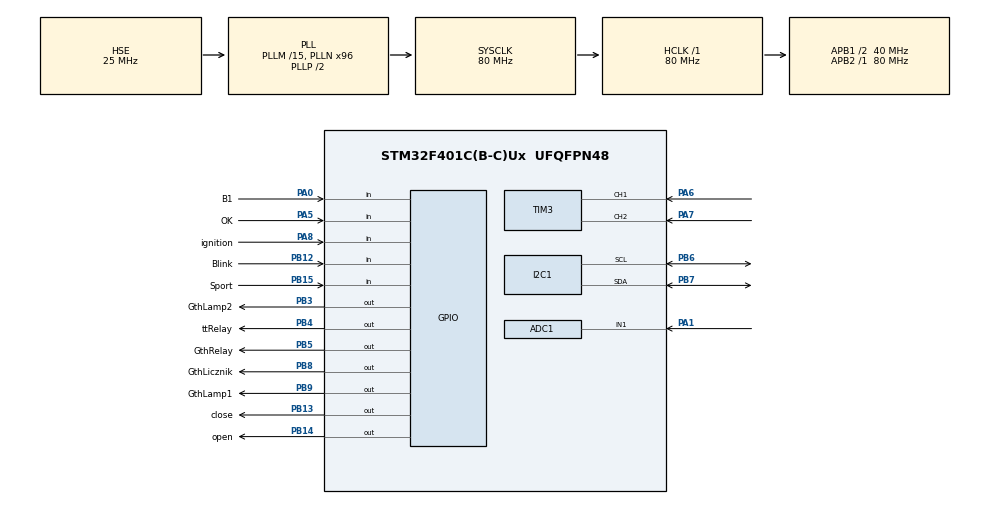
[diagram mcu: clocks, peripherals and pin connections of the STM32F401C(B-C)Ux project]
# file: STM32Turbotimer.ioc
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ADC1.Channel-1\#ChannelRegularConversion=ADC_CHANNEL_1
ADC1.NbrOfConversionFlag=1
ADC1.Rank-1\#ChannelRegularConversion=1
ADC1.SamplingTime-1\#ChannelRegularConversion=ADC_SAMPLETIME_3CYCLES
ADC1.master=1
IWDG.Prescaler=IWDG_PRESCALER_8
Mcu.Family=STM32F4
Mcu.Name=STM32F401C(B-C)Ux
Mcu.Package=UFQFPN48
NVIC.PriorityGroup=NVIC_PRIORITYGROUP_4
NVIC.RCC_IRQn=true\:0\:0\:false\:false\:true\:true\:false\:true
NVIC.TIM2_IRQn=true\:0\:0\:false\:false\:true\:true\:true\:true
NVIC.TIM3_IRQn=true\:0\:0\:false\:false\:true\:true\:true\:true
PA0-WKUP.GPIO_Label=B1
PA0-WKUP.GPIO_PuPd=GPIO_PULLUP
PA0-WKUP.Signal=GPIO_Input
PA1.Signal=ADCx_IN1
PA13.Mode=Serial_Wire
PA13.Signal=SYS_JTMS-SWDIO
PA14.Mode=Serial_Wire
PA14.Signal=SYS_JTCK-SWCLK
PA5.GPIO_Label=OK
PA5.GPIO_PuPd=GPIO_PULLUP
PA5.Signal=GPIO_Input
PA6.Signal=S_TIM3_CH1
PA7.Signal=S_TIM3_CH2
PA8.GPIO_Label=ignition
PA8.GPIO_PuPd=GPIO_PULLUP
PA8.Signal=GPIO_Input
PB12.GPIO_Label=Blink
PB12.GPIO_PuPd=GPIO_PULLUP
PB12.Signal=GPIO_Input
PB13.GPIO_Label=close
PB13.GPIO_PuPd=GPIO_PULLDOWN
PB13.Signal=GPIO_Output
PB14.GPIO_Label=open
PB14.GPIO_PuPd=GPIO_PULLDOWN
PB14.Signal=GPIO_Output
PB15.GPIO_Label=Sport
PB15.GPIO_PuPd=GPIO_PULLUP
PB15.Signal=GPIO_Input
PB3.GPIO_Label=GthLamp2
PB3.GPIO_PuPd=GPIO_PULLUP
PB3.PinState=GPIO_PIN_SET
PB3.Signal=GPIO_Output
PB4.GPIO_Label=ttRelay
PB4.GPIO_PuPd=GPIO_PULLUP
PB4.PinState=GPIO_PIN_SET
PB4.Signal=GPIO_Output
PB5.GPIO_Label=GthRelay
PB5.GPIO_PuPd=GPIO_PULLUP
PB5.PinState=GPIO_PIN_SET
PB5.Signal=GPIO_Output
PB6.Mode=I2C
PB6.Signal=I2C1_SCL
PB7.Mode=I2C
PB7.Signal=I2C1_SDA
PB8.GPIO_Label=GthLicznik
PB8.GPIO_PuPd=GPIO_PULLUP
PB8.PinState=GPIO_PIN_SET
PB8.Signal=GPIO_Output
PB9.GPIO_Label=GthLamp1
PB9.GPIO_PuPd=GPIO_PULLUP
PB9.PinState=GPIO_PIN_SET
PB9.Signal=GPIO_Output
PC14-OSC32_IN.Mode=LSE-External-Oscillator
PC14-OSC32_IN.Signal=RCC_OSC32_IN
PC15-OSC32_OUT.Mode=LSE-External-Oscillator
PC15-OSC32_OUT.Signal=RCC_OSC32_OUT
PH0\ -\ OSC_IN.Mode=HSE-External-Oscillator
PH0\ -\ OSC_IN.Signal=RCC_OSC_IN
PH1\ -\ OSC_OUT.Mode=HSE-External-Oscillator
PH1\ -\ OSC_OUT.Signal=RCC_OSC_OUT
ProjectManager.HeapSize=0x200
ProjectManager.StackSize=0x400
ProjectManager.TargetToolchain=STM32CubeIDE
RCC.48MHZClocksFreq_Value=40000000
RCC.AHBFreq_Value=80000000
RCC.APB1CLKDivider=RCC_HCLK_DIV2
RCC.APB1Freq_Value=40000000
RCC.APB1TimFreq_Value=80000000
RCC.APB2Freq_Value=80000000
RCC.APB2TimFreq_Value=80000000
RCC.CortexFreq_Value=80000000
RCC.HCLKFreq_Value=80000000
RCC.HSE_VALUE=25000000
RCC.HSI_VALUE=16000000
RCC.PLLM=15
RCC.PLLN=96
RCC.PLLSourceVirtual=RCC_PLLSOURCE_HSE
RCC.SYSCLKFreq_VALUE=80000000
RCC.SYSCLKSource=RCC_SYSCLKSOURCE_PLLCLK
RCC.VCOOutputFreq_Value=160000000
SH.ADCx_IN1.0=ADC1_IN1,IN1
SH.S_TIM3_CH1.0=TIM3_CH1,Encoder_Interface
SH.S_TIM3_CH2.0=TIM3_CH2,Encoder_Interface
TIM2.AutoReloadPreload=TIM_AUTORELOAD_PRELOAD_ENABLE
TIM2.Period=999
TIM2.Prescaler=7999
TIM2.TIM_MasterOutputTrigger=TIM_TRGO_UPDATE
TIM3.AutoReloadPreload=TIM_AUTORELOAD_PRELOAD_ENABLE
TIM3.ClockDivision=TIM_CLOCKDIVISION_DIV2
TIM3.EncoderMode=TIM_ENCODERMODE_TI12
TIM3.IC1Filter=15
TIM3.IC2Filter=15
TIM3.TIM_MasterOutputTrigger=TIM_TRGO_UPDATE
VP_IWDG_VS_IWDG.Mode=IWDG_Activate
VP_TIM2_VS_ClockSourceINT.Mode=Internal
board=custom

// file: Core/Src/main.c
/* USER CODE BEGIN Header */
/**
 ******************************************************************************
 * @file           : main.c
 * @brief          : Main program body
 ******************************************************************************
 * @attention
 *
 * Copyright (c) 2023 STMicroelectronics.
 * All rights reserved.
 *
 * This software is licensed under terms that can be found in the LICENSE file
 * in the root directory of this software component.
 * If no LICENSE file comes with this software, it is provided AS-IS.
 *
 ******************************************************************************
 */
/* USER CODE END Header */
#include "main.h"

/* USER CODE BEGIN Includes */
#include "ssd1306.h"
#include "ssd1306_tests.h"
#include <stdbool.h>
#include <stdio.h>
#include <string.h>
/* USER CODE END Includes */

ADC_HandleTypeDef hadc1;

I2C_HandleTypeDef hi2c1;

IWDG_HandleTypeDef hiwdg;

TIM_HandleTypeDef htim2;
TIM_HandleTypeDef htim3;

/* USER CODE BEGIN PV */
//const char *screen = "LOGO";
int display = 0;
int i = 0, pastI = 0;
//int screen = LOGO;
float volt = 0;
float voltSet = 13.4;
float pomiar1 = 0;
int ok = 0;
int sportState = 0;
int sportSet = 0;
int32_t counter = 0;
int32_t prevCounter = 0;
int pressed = 0;
int lock = 0;
int step = 0;
int temp;
int sekAdj = 0;
int minAdj = 0;
char voltage[6];
char voltageSet[6];
char contrastLcd[4];
char sleepLcd[4];
char timeSek[2];
char timeMin[2];
char timeSekGth[2];
char timeMinGth[2];
char timeSetSek[2];
char timeSetMin[2];
char timeSetSekGth[2];
char timeSetMinGth[2];
uint32_t value[3];
uint32_t milis = 0;
uint32_t prevmilis = 0;
uint32_t prevmilis2 = 0;
uint32_t prevmilis3 = 0;
uint32_t prevmilisBckl = 0;
uint32_t sekmilis = 0;
uint32_t prevmilisGth = 0;
uint32_t sekmilisGth = 0;
uint32_t blinkMilis1 = 0;
uint32_t blinkMilis2 = 0;
uint32_t voltmilis = 0;
uint16_t sek = 10;
uint16_t min = 1;
uint16_t sekGth = 40;
uint16_t minGth = 0;
uint8_t turbotimerOn = 0;
uint8_t turbotimerLock = 0;
int16_t count = 0;
int16_t prevCount = 0;
int8_t sekSet = 40;
int8_t minSet = 1;
int8_t sekSetGth = 40;
int8_t minSetGth = 0;
int charge = 0;
int chargeSet = 0;
int chargeSetLock = 0;
int voltageSetLock = 0;
int setLock = 0;
int reczny = 1;
int ignitionState = 1;
int trigger = 0;
int enter = 0;
int gthLock = 0;
int contrast = 80;
int contrastSet = 0;
int sleep = 10;
int sleepSet = 0;
int kierunkowskaz = 0;
int blinkCount = 0;
int blinkLock = 0;
int carLocked = 0;
int carUnLocked = 0;
int ignitionOn = 0;

// Definicja typów enum dla nazw dysków
typedef enum {
	LOGO = 0,
	GLOWNY,
	MENU_1,
	MENU_2,
	TURBOTIMER_SET,
	GTH_SET,
	CHARGE_ON,
	TURBOTIMER_START,
	GTH_START
} SelectScreen;
// Mapowanie tekstu na typ enum
SelectScreen screen = LOGO;

/* USER CODE END PV */

void SystemClock_Config(void);
static void MX_GPIO_Init(void);
static void MX_ADC1_Init(void);
static void MX_I2C1_Init(void);
static void MX_TIM2_Init(void);
static void MX_TIM3_Init(void);
static void MX_IWDG_Init(void);
/* USER CODE BEGIN PFP */
void HAL_TIM_PeriodElapsedCallback(TIM_HandleTypeDef *htim) {
	if (htim->Instance == TIM2) { // Jeżeli przerwanie pochodzi od timera 2
//	  		HAL_GPIO_TogglePin(GPIOA, LD4_Pin );
//	  	HAL_ADC_Start_DMA(&hadc1, dmaBuffer, 8); // Start ADC in DMA mode and declare the buffer where store the results
		milis++;
//		timeOff = timeTrigger2 - timeTrigger1 ;
		if (turbotimerOn == 1 && turbotimerLock == 0) {
			HAL_GPIO_WritePin(GPIOB, ttRelay_Pin, GPIO_PIN_RESET);
			if (milis - sekmilis >= 10) {
//				if (min == 0 && sek == 0) {
//					turbotimerOn = 0;
//				}
				sek--;
				sekmilis = milis;
			}

			if (milis - prevmilis >= 1) {
				if (sek == 65535) {
					sek = 59;
					min--;
				}
				if (min == 65535) {
					min = 0;
				}

				prevmilis = milis;
			}
		}
		if (volt < voltSet && gthLock == 0) {
			HAL_GPIO_WritePin(GPIOB, GthRelay_Pin, GPIO_PIN_RESET);
			HAL_GPIO_WritePin(GPIOB, GthLamp1_Pin, GPIO_PIN_SET);
			HAL_GPIO_WritePin(GPIOB, GthLamp2_Pin, GPIO_PIN_SET);
			HAL_GPIO_WritePin(GPIOB, GthLicznik_Pin, GPIO_PIN_SET);
			if (milis - sekmilisGth >= 10) {
				sekGth--;
				sekmilisGth = milis;
			}
			if (milis - prevmilisGth >= 1) {
				if (sekGth == 65535) {
					sekGth = 59;
					minGth--;
				}
				if (minGth == 65535) {
					minGth = 0;
				}

				prevmilisGth = milis;
			}
		}
		if (min == 0 && sek == 0) {
			turbotimerOn = 0;
			turbotimerLock = 1;
		} else {
			if (milis - sekmilis == 10) {
				prevmilis = milis;
				sekmilis = milis;
			}
		}
		if (minGth == 0 && sekGth == 0) {
			gthLock = 1;
			HAL_GPIO_WritePin(GPIOB, GthRelay_Pin, GPIO_PIN_SET);
			HAL_GPIO_WritePin(GPIOB, GthLamp1_Pin, GPIO_PIN_SET);
			HAL_GPIO_WritePin(GPIOB, GthLamp2_Pin, GPIO_PIN_SET);
			HAL_GPIO_WritePin(GPIOB, GthLicznik_Pin, GPIO_PIN_SET);
		} else {
			if (milis - sekmilis == 10) {
				prevmilisGth = milis;
				sekmilisGth = milis;
			}
		}
		if (milis - blinkMilis1 >= 1) {
			if (kierunkowskaz == 0 && blinkLock == 0) {
				blinkCount++;
				blinkLock = 1;
				blinkMilis2 = milis;
			}
			if (kierunkowskaz == 1) {
				blinkLock = 0;
			}
			blinkMilis1 = milis;
//			blinkMilis2 = milis;
		}
		if (milis - blinkMilis2 >= 10) {
			if (kierunkowskaz == 1) {
				blinkCount = 0;
			}
			blinkMilis2 = milis;
		}
	}
}
/* USER CODE END PFP */

/* USER CODE BEGIN 0 */
//uint32_t counter = 0;
int speed = 0;

void HAL_TIM_IC_CaptureCallback(TIM_HandleTypeDef *htim) {

	counter = __HAL_TIM_GET_COUNTER(&htim3);
	if (screen == MENU_1 || screen == MENU_2) {
		if (chargeSet == 0 && contrastSet == 0 && voltageSetLock == 0
				&& sleepSet == 0) {
			if (screen == MENU_1) {
				if (counter - prevCounter == -4) {
					count--;
					prevCounter = counter;
					if (count < 0) {
						count = 0;
					}
				}
				if (counter - prevCounter == 4) {
					count++;
					prevCounter = counter;
					if (count > 5) {
						count = 5;
					}
				}
			}
			if (screen == MENU_2) {
				if (counter - prevCounter == -4) {
					count--;
					prevCounter = counter;
					if (count < 0) {
						count = 0;
					}
				}
				if (counter - prevCounter == 4) {
					count++;
					prevCounter = counter;
					if (count > 4) {
						count = 4;
					}
				}
			}
		}
		if (chargeSet == 1) {
			if (counter - prevCounter == -4) {
				count--;
				prevCounter = counter;
				if (count <= 0) {
					charge = 0;
					count = 0;
				}
			}
			if (counter - prevCounter == 4) {
				count++;
				prevCounter = counter;
				if (count >= 1) {
					charge = 1;
					count = 1;
				}
			}
		}
		if (contrastSet == 1) {
			if (counter - prevCounter == -4) {
				count--;
				contrast = count;
				prevCounter = counter;
				if (count <= 10) {
					contrast = 10;
					count = 10;
				}
			}
			if (counter - prevCounter == 4) {
				count++;
				contrast = count;
				prevCounter = counter;
				if (count >= 99) {
					contrast = 99;
					count = 99;
				}
			}
		}
		if (voltageSetLock == 1) {
			if (counter - prevCounter == -4) {
				count--;
				voltSet = (count / 10.0);
				prevCounter = counter;
				if (count <= 100) {
					voltSet = 10.0;
					count = 100;
				}
			}
			if (counter - prevCounter == 4) {
				count++;
				voltSet = (count / 10.0);
				prevCounter = counter;
				if (count >= 140) {
					voltSet = 14.0;
					count = 140;
				}
			}
		}
		if (sleepSet == 1) {
			if (counter - prevCounter == -4) {
				count--;
				sleep = count;
				prevCounter = counter;
				if (count <= 10) {
					sleep = 10;
					count = 10;
				}
			}
			if (counter - prevCounter == 4) {
				count++;
				sleep = count;
				prevCounter = counter;
				if (count >= 90) {
					sleep = 90;
					count = 90;
				}
			}
		}
		if (counter >= 65530) {
			TIM3->CNT = 0;
			counter = 0;
		}
	}
	if (screen == TURBOTIMER_SET || screen == GTH_SET) {
		if (counter - prevCounter == -4) {
			count--;
			prevCounter = counter;
		}
		if (counter - prevCounter == 4) {
			count++;
			prevCounter = counter;
		}
	}

}
/* USER CODE END 0 */

int main(void) {

	/* USER CODE BEGIN 1 */
	// Funkcja do mapowania tekstu na typ enum
	/* USER CODE END 1 */

	/* MCU Configuration--------------------------------------------------------*/

	/* Reset of all peripherals, Initializes the Flash interface and the Systick. */
	HAL_Init();

	/* Configure the system clock */
	SystemClock_Config();

	/* Initialize all configured peripherals */
	MX_GPIO_Init();
	MX_ADC1_Init();
	MX_I2C1_Init();
	MX_TIM2_Init();
	MX_TIM3_Init();
	MX_IWDG_Init();
	/* USER CODE BEGIN 2 */
	HAL_TIM_Base_Start_IT(&htim2);
	HAL_TIM_Encoder_Start_IT(&htim3, TIM_CHANNEL_ALL);
	ssd1306_Init();

//	SelectScreen getScreen(const char *wybrany_ekran) {
//		if (strcmp(wybrany_ekran, "LOGO") == 0) {
//			return LOGO;
//		} else if (strcmp(wybrany_ekran, "GLOWNY") == 0) {
//			return GLOWNY;
//		} else if (strcmp(wybrany_ekran, "MENU_1") == 0) {
//			return MENU_1;
//		} else if (strcmp(wybrany_ekran, "MENU_1") == 0) {
//			return MENU_2;
//		} else if (strcmp(wybrany_ekran, "TURBOTIMER_SET") == 0) {
//			return TURBOTIMER_SET;
//		} else if (strcmp(wybrany_ekran, "GTH_SET") == 0) {
//			return GTH_SET;
//		} else if (strcmp(wybrany_ekran, "CHARGE_ON") == 0) {
//			return CHARGE_ON;
//		} else if (strcmp(wybrany_ekran, "TURBOTIMER_START") == 0) {
//			return TURBOTIMER_START;
//		} else if (strcmp(wybrany_ekran, "GTH_START") == 0) {
//			return GTH_START;
//		} else {
//			return LOGO;
//		}
//	}
	// Symulacja wyboru dysku
//	const char *wybrany_ekran;

	/* USER CODE END 2 */

	/* Infinite loop */
	/* USER CODE BEGIN WHILE */
	while (1) {
		HAL_IWDG_Refresh(&hiwdg);
		ssd1306_SetContrast(contrast);
		void dots() {  //// +13
			if (screen == GLOWNY || screen == TURBOTIMER_SET
					|| screen == GTH_SET || screen == CHARGE_ON
					|| screen == GTH_START) {
				ssd1306_DrawRectangle(0, 12, 120, 44, White);
				if (screen == TURBOTIMER_SET || screen == GTH_SET) {
					if (minAdj == 2) {
						ssd1306_DrawRectangle(32, 15, 57, 33, Black);
						ssd1306_DrawRectangle(69, 15, 92, 32, Black);
						ssd1306_DrawRectangle(45, 52, 80, 62, White);
					}
					if (minAdj == 1) {
						ssd1306_DrawRectangle(45, 52, 80, 62, Black);
						ssd1306_DrawRectangle(69, 15, 92, 32, Black);
						ssd1306_DrawRectangle(32, 15, 57, 31, White); //25x 18y
					}
					if (minAdj == 0) {
						ssd1306_DrawRectangle(45, 52, 80, 62, Black);
						ssd1306_DrawRectangle(32, 15, 57, 32, Black);
						ssd1306_DrawRectangle(69, 15, 92, 31, White);
					}
				}
			}
			if (screen == MENU_1 && chargeSet == 0) {
				if (count == 0) {
					ssd1306_DrawRectangle(0, 10, 120, 22, Black);
					ssd1306_DrawRectangle(0, 23, 120, 35, Black);
					ssd1306_DrawRectangle(0, 52, 50, 62, Black);
					ssd1306_DrawRectangle(0, 36, 120, 48, Black);
					ssd1306_DrawRectangle(65, 52, 120, 62, Black);
				}
				if (count == 1) {
					ssd1306_DrawRectangle(0, 23, 120, 35, Black);
					ssd1306_DrawRectangle(0, 36, 120, 48, Black);
					ssd1306_DrawRectangle(0, 52, 60, 62, Black);
					ssd1306_DrawRectangle(65, 52, 120, 62, Black);
					ssd1306_DrawRectangle(0, 10, 120, 22, White);
				}
				if (count == 2) {
					ssd1306_DrawRectangle(0, 10, 120, 22, Black);
					ssd1306_DrawRectangle(0, 52, 60, 62, Black);
					ssd1306_DrawRectangle(0, 36, 120, 48, Black);
					ssd1306_DrawRectangle(65, 52, 120, 62, Black);
					ssd1306_DrawRectangle(0, 23, 120, 35, White);

				}
				if (count == 3) {
					ssd1306_DrawRectangle(0, 10, 120, 22, Black);
					ssd1306_DrawRectangle(0, 23, 120, 35, Black);
					ssd1306_DrawRectangle(0, 52, 60, 62, Black);
					ssd1306_DrawRectangle(65, 52, 120, 62, Black);
					ssd1306_DrawRectangle(0, 36, 120, 48, White);
				}
				if (count == 4) {
					ssd1306_DrawRectangle(0, 10, 120, 22, Black);
					ssd1306_DrawRectangle(0, 23, 120, 35, Black);
					ssd1306_DrawRectangle(0, 36, 120, 48, Black);
					ssd1306_DrawRectangle(65, 52, 120, 62, Black);
					ssd1306_DrawRectangle(0, 52, 60, 62, White);
				}
				if (count == 5) {
					ssd1306_DrawRectangle(0, 10, 120, 22, Black);
					ssd1306_DrawRectangle(0, 23, 120, 35, Black);
					ssd1306_DrawRectangle(0, 52, 60, 62, Black);
					ssd1306_DrawRectangle(0, 36, 120, 48, Black);
					ssd1306_DrawRectangle(65, 52, 120, 62, White);
				}
			}
			if (screen == MENU_1 && chargeSet == 1) {
				ssd1306_DrawRectangle(55, 36, 90, 48, White);
			}
			if (screen == MENU_2) {
				if (contrastSet == 0 && voltageSetLock == 0 && sleepSet == 0) {
					if (count == 0) {
						ssd1306_DrawRectangle(0, 10, 120, 22, Black);
						ssd1306_DrawRectangle(0, 23, 120, 35, Black);
						ssd1306_DrawRectangle(0, 52, 50, 62, Black);
						ssd1306_DrawRectangle(0, 36, 120, 48, Black);
						ssd1306_DrawRectangle(65, 52, 120, 62, Black);
					}
					if (count == 1) {
						ssd1306_DrawRectangle(0, 23, 120, 35, Black);
						ssd1306_DrawRectangle(0, 36, 120, 48, Black);
						ssd1306_DrawRectangle(0, 52, 60, 62, Black);
						ssd1306_DrawRectangle(65, 52, 120, 62, Black);
						ssd1306_DrawRectangle(0, 10, 120, 22, White);
					}
					if (count == 2) {
						ssd1306_DrawRectangle(0, 10, 120, 22, Black);
						ssd1306_DrawRectangle(0, 52, 60, 62, Black);
						ssd1306_DrawRectangle(0, 36, 120, 48, Black);
						ssd1306_DrawRectangle(65, 52, 120, 62, Black);
						ssd1306_DrawRectangle(0, 23, 120, 35, White);

					}
					if (count == 3) {
						ssd1306_DrawRectangle(0, 10, 120, 22, Black);
						ssd1306_DrawRectangle(0, 23, 120, 35, Black);
						ssd1306_DrawRectangle(0, 52, 60, 62, Black);
						ssd1306_DrawRectangle(65, 52, 120, 62, Black);
						ssd1306_DrawRectangle(0, 36, 120, 48, White);
					}
					if (count == 4) {
						ssd1306_DrawRectangle(0, 10, 120, 22, Black);
						ssd1306_DrawRectangle(0, 23, 120, 35, Black);
						ssd1306_DrawRectangle(0, 52, 60, 62, Black);
						ssd1306_DrawRectangle(0, 36, 120, 48, Black);
						ssd1306_DrawRectangle(65, 52, 120, 62, White);
					}
				}
			}
			if (contrastSet == 1) {
				ssd1306_DrawRectangle(83, 10, 114, 22, White);
			}
			if (voltageSetLock == 1) {
				ssd1306_DrawRectangle(83, 23, 114, 35, White);
			}
			if (sleepSet == 1) {
				ssd1306_DrawRectangle(83, 36, 114, 48, White);
			}
		}

		//////////////////////////// POMIAR NAPIECIA//////////////////////////////////////

		for (int i = 0; i < 2; i++) {
			HAL_ADC_Start(&hadc1);
			HAL_ADC_PollForConversion(&hadc1, 1000);
			value[i] = HAL_ADC_GetValue(&hadc1);
			HAL_ADC_Stop(&hadc1);
		}
		if (milis - voltmilis >= 8) {
			pomiar1 = value[0];
			volt = ((pomiar1 / 4096) * 15.12); //formulae to convert the ADC value to voltage
			voltmilis = milis;
		}
		/////////////konwersja liczby na char //////////////////////////////
		snprintf(voltage, 5, "%.2f", volt);
		printf("%s", voltage);

		snprintf(voltageSet, 5, "%.2f", voltSet);
		printf("%s", voltageSet);

		snprintf(contrastLcd, 4, "%d", contrast);
		printf("%s", contrastLcd);

		snprintf(sleepLcd, 4, "%d", sleep);
		printf("%s", sleepLcd);

		snprintf(timeSek, 7, "%d", sek);
		printf("%s", timeSek);
		snprintf(timeMin, 7, "%d", min);
		printf("%s", timeMin);

		snprintf(timeSekGth, 7, "%d", sekGth);
		printf("%s", timeSekGth);
		snprintf(timeMinGth, 7, "%d", minGth);
		printf("%s", timeMinGth);

		snprintf(timeSetSek, 7, "%d", sekSet);
		printf("%s", timeSetSek);
		snprintf(timeSetMin, 7, "%d", minSet);
		printf("%s", timeSetMin);

		snprintf(timeSetSekGth, 7, "%d", sekSetGth);
		printf("%s", timeSetSekGth);
		snprintf(timeSetMinGth, 7, "%d", minSetGth);
		printf("%s", timeSetMinGth);
		/////////////////////////////////screen//////////////////////////////
		dots();
		switch (screen) {
		case GLOWNY:   //////////////// screen główny
			//			ssd1306_DrawRectangle(0, 12, 120, 35, White);
			ssd1306_SetCursor(30, 0);
			ssd1306_WriteString("TURBOTIMER", Font_7x10, White);
			ssd1306_SetCursor(35, 33);
			ssd1306_WriteString("min", Font_7x10, White);
			ssd1306_SetCursor(70, 33);
			ssd1306_WriteString("sek", Font_7x10, White);
			ssd1306_SetCursor(58, 16);
			ssd1306_WriteString(":", Font_11x18, White);
			if (sek >= 10) {
				ssd1306_SetCursor(70, 16);
				ssd1306_WriteString(timeSek, Font_11x18, White);
			}
			if (sek < 10) {
				ssd1306_SetCursor(70, 16);
				ssd1306_WriteString("0", Font_11x18, White);
				ssd1306_SetCursor(80, 16);
				ssd1306_WriteString(timeSek, Font_11x18, White);
			}
			if (min >= 10) {
				ssd1306_SetCursor(35, 16);
				ssd1306_WriteString(timeMin, Font_11x18, White);
			}
			if (min < 10) {
				ssd1306_SetCursor(35, 16);
				ssd1306_WriteString("0", Font_11x18, White);
				ssd1306_SetCursor(45, 16);
				ssd1306_WriteString(timeMin, Font_11x18, White);
			}
			ssd1306_SetCursor(10, 50);
			ssd1306_WriteString("Voltage :", Font_7x10, White);
			ssd1306_SetCursor(74, 50);
			ssd1306_WriteString(voltage, Font_7x10, White);
			ssd1306_SetCursor(105, 50);
			ssd1306_WriteString("V", Font_7x10, White);
			break;
		case MENU_1:
			ssd1306_SetCursor(50, 0);
			ssd1306_WriteString("MENU", Font_6x8, White);
			ssd1306_SetCursor(3, 13);
			ssd1306_WriteString("TURBOTIMER", Font_6x8, White);
			ssd1306_SetCursor(3, 26);
			ssd1306_WriteString("GO TO HOME", Font_6x8, White);
			ssd1306_SetCursor(3, 39);
			ssd1306_WriteString("CHARGE :", Font_6x8, White);
			ssd1306_SetCursor(13, 54);
			ssd1306_WriteString("CONFIG", Font_6x8, White);
			ssd1306_SetCursor(87, 54);
			ssd1306_WriteString("EXIT", Font_6x8, White);
			if (charge == 0) {
				ssd1306_SetCursor(60, 39);
				ssd1306_WriteString("Off ", Font_6x8, White);
			}
			if (charge == 1) {
				ssd1306_SetCursor(60, 39);
				ssd1306_WriteString(" On", Font_6x8, White);
			}

			break;
		case TURBOTIMER_SET:
			ssd1306_SetCursor(55, 54);
			ssd1306_WriteString("OK", Font_6x8, White);
			ssd1306_SetCursor(15, 0);
			ssd1306_WriteString("TURBOTIMER SET", Font_7x10, White);
			ssd1306_SetCursor(35, 33);
			ssd1306_WriteString("min", Font_7x10, White);
			ssd1306_SetCursor(70, 33);
			ssd1306_WriteString("sek", Font_7x10, White);
			ssd1306_SetCursor(58, 16);
			ssd1306_WriteString(":", Font_11x18, White);
			if (sekSet >= 10) {
				ssd1306_SetCursor(70, 16);
				ssd1306_WriteString(timeSetSek, Font_11x18, White);
			}
			if (sekSet < 10) {
				ssd1306_SetCursor(70, 16);
				ssd1306_WriteString("0", Font_11x18, White);
				ssd1306_SetCursor(80, 16);
				ssd1306_WriteString(timeSetSek, Font_11x18, White);
			}
			if (minSet >= 10) {
				ssd1306_SetCursor(35, 16);
				ssd1306_WriteString(timeSetMin, Font_11x18, White);
			}
			if (minSet < 10) {
				ssd1306_SetCursor(35, 16);
				ssd1306_WriteString("0", Font_11x18, White);
				ssd1306_SetCursor(45, 16);
				ssd1306_WriteString(timeSetMin, Font_11x18, White);
			}
			if (minAdj == 0) {
				if (count - prevCount <= -1) {
					sekSet--;
					prevCount = count;
				}
				if (sekSet < 0) {
					sekSet = 59;
				}
				if (count - prevCount >= 1) {
					sekSet++;
					prevCount = count;
				}
				if (sekSet > 59) {
					sekSet = 0;
				}
			}
			if (minAdj == 1) {
				if (count - prevCount <= -1) {
					minSet--;
					prevCount = count;
				}
				if (minSet < 0) {
					minSet = 20;
				}
				if (count - prevCount >= 1) {
					minSet++;
					prevCount = count;
				}
				if (minSet > 20) {
					minSet = 0;
				}
			}
			break;
		case GTH_SET:
			ssd1306_SetCursor(55, 54);
			ssd1306_WriteString("OK", Font_6x8, White);
			ssd1306_SetCursor(15, 0);
			ssd1306_WriteString("GO TO HOME SET", Font_7x10, White);
			ssd1306_SetCursor(35, 33);
			ssd1306_WriteString("min", Font_7x10, White);
			ssd1306_SetCursor(70, 33);
			ssd1306_WriteString("sek", Font_7x10, White);
			ssd1306_SetCursor(58, 16);
			ssd1306_WriteString(":", Font_11x18, White);
			if (sekSetGth >= 10) {
				ssd1306_SetCursor(70, 16);
				ssd1306_WriteString(timeSetSekGth, Font_11x18, White);
			}
			if (sekSetGth < 10) {
				ssd1306_SetCursor(70, 16);
				ssd1306_WriteString("0", Font_11x18, White);
				ssd1306_SetCursor(80, 16);
				ssd1306_WriteString(timeSetSekGth, Font_11x18, White);
			}
			if (minSetGth >= 10) {
				ssd1306_SetCursor(35, 16);
				ssd1306_WriteString(timeSetMinGth, Font_11x18, White);
			}
			if (minSetGth < 10) {
				ssd1306_SetCursor(35, 16);
				ssd1306_WriteString("0", Font_11x18, White);
				ssd1306_SetCursor(45, 16);
				ssd1306_WriteString(timeSetMinGth, Font_11x18, White);
			}
			if (minAdj == 0) {
				if (count - prevCount <= -1) {
					sekSetGth--;
					prevCount = count;
				}
				if (sekSetGth < 0) {
					sekSetGth = 59;
				}
				if (count - prevCount >= 1) {
					sekSetGth++;
					prevCount = count;
				}
				if (sekSetGth > 59) {
					sekSetGth = 0;
				}
			}
			if (minAdj == 1) {
				if (count - prevCount <= -1) {
					minSetGth--;
					prevCount = count;
				}
				if (minSetGth < 0) {
					minSetGth = 5;
				}
				if (count - prevCount >= 1) {
					minSetGth++;
					prevCount = count;
				}
				if (minSetGth > 5) {
					minSetGth = 0;
				}
			}
			break;
		case CHARGE_ON:
			ssd1306_SetCursor(13, 19);
			ssd1306_WriteString("CHARGE ON", Font_11x18, White);
			ssd1306_SetCursor(10, 50);
			ssd1306_WriteString("Voltage :", Font_7x10, White);
			ssd1306_SetCursor(74, 50);
			ssd1306_WriteString(voltage, Font_7x10, White);
			ssd1306_SetCursor(105, 50);
			ssd1306_WriteString("V", Font_7x10, White);
			break;
		case TURBOTIMER_START:
			ssd1306_SetCursor(18, 19);
			ssd1306_WriteString("STARTING", Font_11x18, White);
			break;
		case MENU_2:
			ssd1306_SetCursor(15, 0);
			ssd1306_WriteString("CONFIGURATION", Font_6x8, White);
			ssd1306_SetCursor(3, 13);
			ssd1306_WriteString("CONTRAST :", Font_6x8, White);
			ssd1306_SetCursor(94, 13);
			ssd1306_WriteString(contrastLcd, Font_6x8, White);
			ssd1306_SetCursor(3, 26);
			ssd1306_WriteString("VOLTAGE SET :", Font_6x8, White);
			ssd1306_SetCursor(87, 26);
			ssd1306_WriteString(voltageSet, Font_6x8, White);
			ssd1306_SetCursor(3, 39);
			ssd1306_WriteString("SLEEP TIME :", Font_6x8, White);
			ssd1306_SetCursor(94, 39);
			ssd1306_WriteString(sleepLcd, Font_6x8, White);
			//			ssd1306_SetCursor(13, 54);
			//			ssd1306_WriteString("CONFIG", Font_6x8, White);
			ssd1306_SetCursor(87, 54);
			ssd1306_WriteString("EXIT", Font_6x8, White);
			break;
		case GTH_START:
			ssd1306_SetCursor(30, 0);
			ssd1306_WriteString("GO TO HOME", Font_7x10, White);
			ssd1306_SetCursor(35, 33);
			ssd1306_WriteString("min", Font_7x10, White);
			ssd1306_SetCursor(70, 33);
			ssd1306_WriteString("sek", Font_7x10, White);
			ssd1306_SetCursor(58, 16);
			ssd1306_WriteString(":", Font_11x18, White);
			if (sekGth >= 10) {
				ssd1306_SetCursor(70, 16);
				ssd1306_WriteString(timeSekGth, Font_11x18, White);
			}
			if (sekGth < 10) {
				ssd1306_SetCursor(70, 16);
				ssd1306_WriteString("0", Font_11x18, White);
				ssd1306_SetCursor(80, 16);
				ssd1306_WriteString(timeSekGth, Font_11x18, White);
			}
			if (minGth >= 10) {
				ssd1306_SetCursor(35, 16);
				ssd1306_WriteString(timeMinGth, Font_11x18, White);
			}
			if (minGth < 10) {
				ssd1306_SetCursor(35, 16);
				ssd1306_WriteString("0", Font_11x18, White);
				ssd1306_SetCursor(45, 16);
				ssd1306_WriteString(timeMinGth, Font_11x18, White);
			}
			ssd1306_SetCursor(10, 50);
			ssd1306_WriteString("Voltage :", Font_7x10, White);
			ssd1306_SetCursor(74, 50);
			ssd1306_WriteString(voltage, Font_7x10, White);
			ssd1306_SetCursor(105, 50);
			ssd1306_WriteString("V", Font_7x10, White);
			break;
		case LOGO:
			ssd1306_startLogo();
			break;

		}
		ssd1306_UpdateScreen();
		//		HAL_Delay(1);
		/////////////////////////////////////////////////////////////////////////////////////

		///////////////////////// PRZYCISKI ////////////////////////////////////////////////
		enter = HAL_GPIO_ReadPin(GPIOA, OK_Pin);
		reczny = HAL_GPIO_ReadPin(GPIOA, B1_Pin);
		kierunkowskaz = HAL_GPIO_ReadPin(GPIOB, Blink_Pin);
		ignitionState = HAL_GPIO_ReadPin(GPIOA, ignition_Pin);
		//////////////////////Przycisk sport//////////////////////////////////////////////
		sportState = HAL_GPIO_ReadPin(GPIOA, Sport_Pin);

		if (sportState == 1 && sportSet == 0) {
			if (milis - prevmilis3 < 5000) {
				HAL_GPIO_WritePin(GPIOB, open_Pin, GPIO_PIN_SET);
			}
			if (milis - prevmilis3 > 5000) {
				HAL_GPIO_WritePin(GPIOB, open_Pin, GPIO_PIN_RESET);
				prevmilis3 = milis;
				sportSet = 1;
			}
		}
		if (sportState == 0 && sportSet == 1) {
			if (milis - prevmilis3 < 5000) {
				HAL_GPIO_WritePin(GPIOB, close_Pin, GPIO_PIN_SET);
			}
			if (milis - prevmilis3 > 5000) {
				HAL_GPIO_WritePin(GPIOB, close_Pin, GPIO_PIN_RESET);
				prevmilis3 = milis;
				sportSet = 0;
			}
		}
		if (volt >= voltSet && ignitionState == 0) {
			ignitionOn = 1;
		}
		if (volt <= voltSet && ignitionState == 1) {
			ignitionOn = 0;
		}
///////////////////////////////////////////////////////////////////////////////////////////////

		if (enter == 0 && lock == 0) {
			pressed = 1;
			lock = 1;
		}
		if (enter == 1 && lock == 1) {
			lock = 0;
		}
		if (pressed == 1 && lock == 0 && display == 1) {
			ssd1306_Fill(Black);
			if (screen == TURBOTIMER_SET) {
				if (minAdj == 2) {
					sek = sekSet;
					min = minSet;
					screen = MENU_1;
					count = 0;
				}
				if (minAdj == 1) {
					minAdj = 2;
				}
				if (minAdj == 0) {
					minAdj = 1;
				}
			}
			if (screen == GTH_SET) {
				if (minAdj == 2) {
					sekGth = sekSetGth;
					minGth = minSetGth;
					screen = MENU_1;
				}
				if (minAdj == 1) {
					minAdj = 2;
				}
				if (minAdj == 0) {
					minAdj = 1;
				}
			}
			if (screen == GLOWNY && turbotimerOn == 0) {
				//				count = 0;
				screen = MENU_1;
			}
			if (screen == CHARGE_ON) {
				//				count = 0;
				screen = MENU_1;
			}
			if (screen == MENU_1) {
				if (count == 0) {
					minAdj = 0;
				}
				if (count == 1 && chargeSet == 0) {
					sekSet = sek;
					minSet = min;
					count = 0;
					prevCount = 0;
					prevCounter = 32767;
					TIM3->CNT = 32767;
					counter = 32767;
					screen = TURBOTIMER_SET;
				}
				if (count == 2) {
					sekSetGth = sekGth;
					minSetGth = minGth;
					count = 0;
					prevCount = 0;
					prevCounter = 32767;
					TIM3->CNT = 32767;
					counter = 32767;
					screen = GTH_SET;
				}
				if (count == 3 && chargeSet == 0 && setLock == 0) {
					count = charge;
					prevCount = charge;
					prevCounter = 32767;
					TIM3->CNT = 32767;
					counter = 32767;
					chargeSet = 1;
					setLock = 1;
				}
				if (chargeSet == 1 && setLock == 0) {
					charge = count;
					chargeSet = 0;
					setLock = 1;
				}
				if (count == 4) {
					count = 0;
					counter = 0;
					prevCounter = 0;
					prevCount = 0;
					TIM3->CNT = 0;
					screen = MENU_2;
				}
				if (count == 5) {
					if (charge == 1) {
						screen = CHARGE_ON;
					}
					if (charge == 0) {
						screen = GLOWNY;
					}
				}
			}
			if (screen == MENU_2) {
				if (count == 1 && contrastSet == 0 && setLock == 0) {
					count = contrast;
					prevCount = contrast;
					prevCounter = 32767;
					TIM3->CNT = 32767;
					counter = 32767;
					contrastSet = 1;
					setLock = 1;
				}
				if (contrastSet == 1 && setLock == 0) {
					count = 0;
					counter = 0;
					prevCounter = 0;
					prevCount = 0;
					TIM3->CNT = 0;
					contrastSet = 0;
					setLock = 1;
				}
				if (count == 2 && voltageSetLock == 0 && setLock == 0) {
					count = (voltSet * 10.0);
					prevCount = (voltSet * 10);
					prevCounter = 32767;
					TIM3->CNT = 32767;
					counter = 32767;
					voltageSetLock = 1;
					setLock = 1;

				}
				if (voltageSetLock == 1 && setLock == 0) {
					count = 0;
					counter = 0;
					prevCounter = 0;
					prevCount = 0;
					TIM3->CNT = 0;
					voltageSetLock = 0;
					setLock = 1;
				}
				if (count == 3 && sleepSet == 0 && setLock == 0) {
					count = sleep;
					prevCount = sleep;
					prevCounter = 32767;
					TIM3->CNT = 32767;
					counter = 32767;
					sleepSet = 1;
					setLock = 1;
				}
				if (sleepSet == 1 && setLock == 0) {
					count = 0;
					counter = 0;
					prevCounter = 0;
					prevCount = 0;
					TIM3->CNT = 0;
					sleepSet = 0;
					setLock = 1;
				}
				if (count == 4) {
					screen = MENU_1;
				}
			}
			if (screen == MENU_1 || screen == GLOWNY || screen == CHARGE_ON
					|| screen == LOGO) {
				if (count != 3 && chargeSet != 1) {
					count = 0;
					counter = 0;
					prevCounter = 0;
					prevCount = 0;
					TIM3->CNT = 0;
				}
			}
			if (volt < voltSet && gthLock == 0 && screen == GTH_START) {
				minGth = 0;
				sekGth = 1;
			}
			if (volt > voltSet && turbotimerOn == 1 && screen == GLOWNY) {
				min = 7;
				sek = 0;
			}
			turbotimerLock = 0;
			setLock = 0;
			pressed = 0;
		}
		if (pressed == 1 && lock == 0 && display == 0) {
			screen = LOGO;
			ssd1306_SetDisplayOn(1);
			if (screen == LOGO) {
				if (milis - prevmilis2 >= 50) {
					ssd1306_Fill(Black);
					screen = GLOWNY;
					prevmilis2 = milis;
				}
			}
			//			ssd1306_SetDisplayOn(1);
			turbotimerLock = 0;
			setLock = 0;
			pressed = 0;
		}

		///////////////////////////////////////////////////////////////////////////////////
		////////////////////////Działanie softu/////////////////////////////////////////
		display = ssd1306_GetDisplayOn();
		if (screen == LOGO) {
			prevmilisBckl = milis;
			if (milis - prevmilis2 >= 50) {
				ssd1306_Fill(Black);
				screen = GLOWNY;
				prevmilis2 = milis;
			}
			//			HAL_Delay(5000);
			//			ssd1306_Fill(Black);
			//			screen = "GLOWNY";
		}
		if (screen != LOGO) {
			prevmilis2 = milis;
		}

//		if (volt >= voltSet && ignitionState == 0) {
		if (ignitionOn == 1) {
			if (charge == 0) {
				if (voltageSetLock == 0) {
					if (display == 0) {
						ssd1306_Fill(Black);
						screen = LOGO;
						ssd1306_SetDisplayOn(1);
						prevmilisBckl = milis;
					}
					if (screen == GTH_START) {
						screen = GLOWNY;
					}
				}
				if (screen == GLOWNY) {
					ssd1306_Fill(Black);
					if (reczny == 0 && turbotimerOn == 0) {
						//				ssd1306_SetDisplayOn(1);
						HAL_GPIO_WritePin(GPIOB, ttRelay_Pin, GPIO_PIN_SET);
						//				turbotimerLock = 0;
						screen = TURBOTIMER_START;
					}
					if (reczny == 1 && turbotimerLock == 1) {
						HAL_GPIO_WritePin(GPIOB, ttRelay_Pin, GPIO_PIN_SET);
						turbotimerLock = 0;
					}
					if (reczny == 1 && turbotimerOn == 0) {
						HAL_GPIO_WritePin(GPIOB, ttRelay_Pin, GPIO_PIN_SET);
						turbotimerLock = 0;
					}
					if (reczny == 0 && turbotimerLock == 0) {
						HAL_GPIO_WritePin(GPIOB, ttRelay_Pin, GPIO_PIN_RESET);
						HAL_GPIO_WritePin(GPIOB, GthRelay_Pin, GPIO_PIN_SET);
						HAL_GPIO_WritePin(GPIOB, GthLamp1_Pin, GPIO_PIN_SET);
						HAL_GPIO_WritePin(GPIOB, GthLamp2_Pin, GPIO_PIN_SET);
						HAL_GPIO_WritePin(GPIOB, GthLicznik_Pin, GPIO_PIN_SET);
					}
				}
				if (screen == TURBOTIMER_START) {
					if (reczny == 0) {
						ssd1306_SetDisplayOn(1);
						if (trigger < 10) {
							//					screen = "TURBOTIMER_START";
							trigger++;
						}
						if (trigger == 10) {
							screen = GLOWNY;
							turbotimerOn = 1;
						}
					}
					if (reczny == 1) {
						HAL_GPIO_WritePin(GPIOB, ttRelay_Pin, GPIO_PIN_SET);
						screen = GLOWNY;
					}
				}
				if (reczny == 1) {
//			HAL_GPIO_WritePin(GPIOB, ttRelay_Pin, GPIO_PIN_RESET);
					turbotimerOn = 0;
					trigger = 0;
					sek = sekSet;
					min = minSet;
				}
				if (turbotimerOn == 0) {
					HAL_GPIO_WritePin(GPIOB, GthRelay_Pin, GPIO_PIN_RESET);
					HAL_GPIO_WritePin(GPIOB, GthLamp1_Pin, GPIO_PIN_RESET);
					HAL_GPIO_WritePin(GPIOB, GthLamp2_Pin, GPIO_PIN_RESET);
					HAL_GPIO_WritePin(GPIOB, GthLicznik_Pin, GPIO_PIN_RESET);
					gthLock = 0;
					sekGth = sekSetGth;
					minGth = minSetGth;
					carLocked = 0;
					carUnLocked = 0;
				}
			}
			if (charge == 1) {
				gthLock = 1;
				sekGth = 0;
				minGth = 0;
			}
		}
		if (volt < 11.0) {
			gthLock = 1;
			HAL_GPIO_WritePin(GPIOB, GthRelay_Pin, GPIO_PIN_SET);
			HAL_GPIO_WritePin(GPIOB, GthLamp1_Pin, GPIO_PIN_SET);
			HAL_GPIO_WritePin(GPIOB, GthLamp2_Pin, GPIO_PIN_SET);
			HAL_GPIO_WritePin(GPIOB, GthLicznik_Pin, GPIO_PIN_SET);
		}
//		if (volt < voltSet) {
		if (ignitionOn == 0) {
			if (voltageSetLock == 0) {
				if (turbotimerOn == 1) {
					ssd1306_SetDisplayOn(1);
				}
				if (gthLock == 0 && screen != LOGO) {
					screen = GTH_START;
				}
				if (screen == GLOWNY && gthLock == 1) {
					if (milis - prevmilisBckl >= (sleep * 10)) {
						if (charge == 0 && turbotimerOn == 0) {
							ssd1306_SetDisplayOn(0);
						}
						prevmilisBckl = milis;
					}
				}
				if (screen == GTH_START && gthLock == 1) {
					if (milis - prevmilisBckl >= (sleep * 10)) {
						if (charge == 0 && turbotimerOn == 0) {
							ssd1306_SetDisplayOn(0);
						}
						if (charge == 0 && turbotimerOn == 1) {
							ssd1306_SetDisplayOn(0);
						}
						prevmilisBckl = milis;
					}
				}
				if (display == 0) {
					ssd1306_Fill(Black);
					prevmilisBckl = milis;
					screen = LOGO;
				}

			}

			////////////////////////////Obsługa kierunkowskazów//////////////////////////////////////
			if (blinkCount == 1 && display == 1) {
				gthLock = 0;
				sekGth = sekSetGth;
				minGth = minSetGth;
				carLocked = 1;
				carUnLocked = 0;
			}
			if (blinkCount == 2) {
				screen = GTH_START;
				ssd1306_SetDisplayOn(1);
				gthLock = 0;
				sekGth = sekSetGth;
				minGth = minSetGth;
				carLocked = 0;
				carUnLocked = 1;
			}
		}
		////////////////////////////////////////////////////////////////////////////////////////////////

	}
	/* USER CODE END WHILE */

}

void SystemClock_Config(void) {
	RCC_OscInitTypeDef RCC_OscInitStruct = { 0 };
	RCC_ClkInitTypeDef RCC_ClkInitStruct = { 0 };

	/** Configure the main internal regulator output voltage
	 */
	__HAL_RCC_PWR_CLK_ENABLE();
	__HAL_PWR_VOLTAGESCALING_CONFIG(PWR_REGULATOR_VOLTAGE_SCALE2);

	/** Initializes the RCC Oscillators according to the specified parameters
	 * in the RCC_OscInitTypeDef structure.
	 */
	RCC_OscInitStruct.OscillatorType = RCC_OSCILLATORTYPE_LSI
			| RCC_OSCILLATORTYPE_HSE;
	RCC_OscInitStruct.HSEState = RCC_HSE_ON;
	RCC_OscInitStruct.LSIState = RCC_LSI_ON;
	RCC_OscInitStruct.PLL.PLLState = RCC_PLL_ON;
	RCC_OscInitStruct.PLL.PLLSource = RCC_PLLSOURCE_HSE;
	RCC_OscInitStruct.PLL.PLLM = 15;
	RCC_OscInitStruct.PLL.PLLN = 96;
	RCC_OscInitStruct.PLL.PLLP = RCC_PLLP_DIV2;
	RCC_OscInitStruct.PLL.PLLQ = 4;
	if (HAL_RCC_OscConfig(&RCC_OscInitStruct) != HAL_OK) {
		Error_Handler();
	}

	/** Initializes the CPU, AHB and APB buses clocks
	 */
	RCC_ClkInitStruct.ClockType = RCC_CLOCKTYPE_HCLK | RCC_CLOCKTYPE_SYSCLK
			| RCC_CLOCKTYPE_PCLK1 | RCC_CLOCKTYPE_PCLK2;
	RCC_ClkInitStruct.SYSCLKSource = RCC_SYSCLKSOURCE_PLLCLK;
	RCC_ClkInitStruct.AHBCLKDivider = RCC_SYSCLK_DIV1;
	RCC_ClkInitStruct.APB1CLKDivider = RCC_HCLK_DIV2;
	RCC_ClkInitStruct.APB2CLKDivider = RCC_HCLK_DIV1;

	if (HAL_RCC_ClockConfig(&RCC_ClkInitStruct, FLASH_LATENCY_2) != HAL_OK) {
		Error_Handler();
	}
}

static void MX_ADC1_Init(void) {

	ADC_ChannelConfTypeDef sConfig = { 0 };

	/** Configure the global features of the ADC (Clock, Resolution, Data Alignment and number of conversion)
	 */
	hadc1.Instance = ADC1;
	hadc1.Init.ClockPrescaler = ADC_CLOCK_SYNC_PCLK_DIV4;
	hadc1.Init.Resolution = ADC_RESOLUTION_12B;
	hadc1.Init.ScanConvMode = DISABLE;
	hadc1.Init.ContinuousConvMode = DISABLE;
	hadc1.Init.DiscontinuousConvMode = DISABLE;
	hadc1.Init.ExternalTrigConvEdge = ADC_EXTERNALTRIGCONVEDGE_NONE;
	hadc1.Init.ExternalTrigConv = ADC_SOFTWARE_START;
	hadc1.Init.DataAlign = ADC_DATAALIGN_RIGHT;
	hadc1.Init.NbrOfConversion = 1;
	hadc1.Init.DMAContinuousRequests = DISABLE;
	hadc1.Init.EOCSelection = ADC_EOC_SINGLE_CONV;
	if (HAL_ADC_Init(&hadc1) != HAL_OK) {
		Error_Handler();
	}

	/** Configure for the selected ADC regular channel its corresponding rank in the sequencer and its sample time.
	 */
	sConfig.Channel = ADC_CHANNEL_1;
	sConfig.Rank = 1;
	sConfig.SamplingTime = ADC_SAMPLETIME_3CYCLES;
	if (HAL_ADC_ConfigChannel(&hadc1, &sConfig) != HAL_OK) {
		Error_Handler();
	}

}

static void MX_I2C1_Init(void) {

	hi2c1.Instance = I2C1;
	hi2c1.Init.ClockSpeed = 100000;
	hi2c1.Init.DutyCycle = I2C_DUTYCYCLE_2;
	hi2c1.Init.OwnAddress1 = 0;
	hi2c1.Init.AddressingMode = I2C_ADDRESSINGMODE_7BIT;
	hi2c1.Init.DualAddressMode = I2C_DUALADDRESS_DISABLE;
	hi2c1.Init.OwnAddress2 = 0;
	hi2c1.Init.GeneralCallMode = I2C_GENERALCALL_DISABLE;
	hi2c1.Init.NoStretchMode = I2C_NOSTRETCH_DISABLE;
	if (HAL_I2C_Init(&hi2c1) != HAL_OK) {
		Error_Handler();
	}

}

static void MX_IWDG_Init(void) {

	hiwdg.Instance = IWDG;
	hiwdg.Init.Prescaler = IWDG_PRESCALER_8;
	hiwdg.Init.Reload = 4095;
	if (HAL_IWDG_Init(&hiwdg) != HAL_OK) {
		Error_Handler();
	}

}

static void MX_TIM2_Init(void) {

	TIM_ClockConfigTypeDef sClockSourceConfig = { 0 };
	TIM_MasterConfigTypeDef sMasterConfig = { 0 };

	htim2.Instance = TIM2;
	htim2.Init.Prescaler = 7999;
	htim2.Init.CounterMode = TIM_COUNTERMODE_UP;
	htim2.Init.Period = 999;
	htim2.Init.ClockDivision = TIM_CLOCKDIVISION_DIV1;
	htim2.Init.AutoReloadPreload = TIM_AUTORELOAD_PRELOAD_ENABLE;
	if (HAL_TIM_Base_Init(&htim2) != HAL_OK) {
		Error_Handler();
	}
	sClockSourceConfig.ClockSource = TIM_CLOCKSOURCE_INTERNAL;
	if (HAL_TIM_ConfigClockSource(&htim2, &sClockSourceConfig) != HAL_OK) {
		Error_Handler();
	}
	sMasterConfig.MasterOutputTrigger = TIM_TRGO_UPDATE;
	sMasterConfig.MasterSlaveMode = TIM_MASTERSLAVEMODE_DISABLE;
	if (HAL_TIMEx_MasterConfigSynchronization(&htim2, &sMasterConfig)
			!= HAL_OK) {
		Error_Handler();
	}

}

static void MX_TIM3_Init(void) {

	TIM_Encoder_InitTypeDef sConfig = { 0 };
	TIM_MasterConfigTypeDef sMasterConfig = { 0 };

	htim3.Instance = TIM3;
	htim3.Init.Prescaler = 0;
	htim3.Init.CounterMode = TIM_COUNTERMODE_UP;
	htim3.Init.Period = 65535;
	htim3.Init.ClockDivision = TIM_CLOCKDIVISION_DIV2;
	htim3.Init.AutoReloadPreload = TIM_AUTORELOAD_PRELOAD_ENABLE;
	sConfig.EncoderMode = TIM_ENCODERMODE_TI12;
	sConfig.IC1Polarity = TIM_ICPOLARITY_RISING;
	sConfig.IC1Selection = TIM_ICSELECTION_DIRECTTI;
	sConfig.IC1Prescaler = TIM_ICPSC_DIV1;
	sConfig.IC1Filter = 15;
	sConfig.IC2Polarity = TIM_ICPOLARITY_RISING;
	sConfig.IC2Selection = TIM_ICSELECTION_DIRECTTI;
	sConfig.IC2Prescaler = TIM_ICPSC_DIV1;
	sConfig.IC2Filter = 15;
	if (HAL_TIM_Encoder_Init(&htim3, &sConfig) != HAL_OK) {
		Error_Handler();
	}
	sMasterConfig.MasterOutputTrigger = TIM_TRGO_UPDATE;
	sMasterConfig.MasterSlaveMode = TIM_MASTERSLAVEMODE_DISABLE;
	if (HAL_TIMEx_MasterConfigSynchronization(&htim3, &sMasterConfig)
			!= HAL_OK) {
		Error_Handler();
	}

}

static void MX_GPIO_Init(void) {
	GPIO_InitTypeDef GPIO_InitStruct = { 0 };

	/* GPIO Ports Clock Enable */
	__HAL_RCC_GPIOC_CLK_ENABLE();
	__HAL_RCC_GPIOH_CLK_ENABLE();
	__HAL_RCC_GPIOA_CLK_ENABLE();
	__HAL_RCC_GPIOB_CLK_ENABLE();

	/*Configure GPIO pin Output Level */
	HAL_GPIO_WritePin(GPIOB, close_Pin | open_Pin, GPIO_PIN_RESET);

	/*Configure GPIO pin Output Level */
	HAL_GPIO_WritePin(GPIOB,
	GthLamp2_Pin | ttRelay_Pin | GthRelay_Pin | GthLicznik_Pin | GthLamp1_Pin,
			GPIO_PIN_SET);

	/*Configure GPIO pins : B1_Pin OK_Pin ignition_Pin */
	GPIO_InitStruct.Pin = B1_Pin | OK_Pin | ignition_Pin;
	GPIO_InitStruct.Mode = GPIO_MODE_INPUT;
	GPIO_InitStruct.Pull = GPIO_PULLUP;
	HAL_GPIO_Init(GPIOA, &GPIO_InitStruct);

	/*Configure GPIO pins : Blink_Pin Sport_Pin */
	GPIO_InitStruct.Pin = Blink_Pin | Sport_Pin;
	GPIO_InitStruct.Mode = GPIO_MODE_INPUT;
	GPIO_InitStruct.Pull = GPIO_PULLUP;
	HAL_GPIO_Init(GPIOB, &GPIO_InitStruct);

	/*Configure GPIO pins : close_Pin open_Pin */
	GPIO_InitStruct.Pin = close_Pin | open_Pin;
	GPIO_InitStruct.Mode = GPIO_MODE_OUTPUT_PP;
	GPIO_InitStruct.Pull = GPIO_PULLDOWN;
	GPIO_InitStruct.Speed = GPIO_SPEED_FREQ_LOW;
	HAL_GPIO_Init(GPIOB, &GPIO_InitStruct);

	/*Configure GPIO pins : GthLamp2_Pin ttRelay_Pin GthRelay_Pin GthLicznik_Pin
	 GthLamp1_Pin */
	GPIO_InitStruct.Pin = GthLamp2_Pin | ttRelay_Pin | GthRelay_Pin
			| GthLicznik_Pin | GthLamp1_Pin;
	GPIO_InitStruct.Mode = GPIO_MODE_OUTPUT_PP;
	GPIO_InitStruct.Pull = GPIO_PULLUP;
	GPIO_InitStruct.Speed = GPIO_SPEED_FREQ_LOW;
	HAL_GPIO_Init(GPIOB, &GPIO_InitStruct);

}

void Error_Handler(void) {
	__disable_irq();
	while (1) {
	}
}
